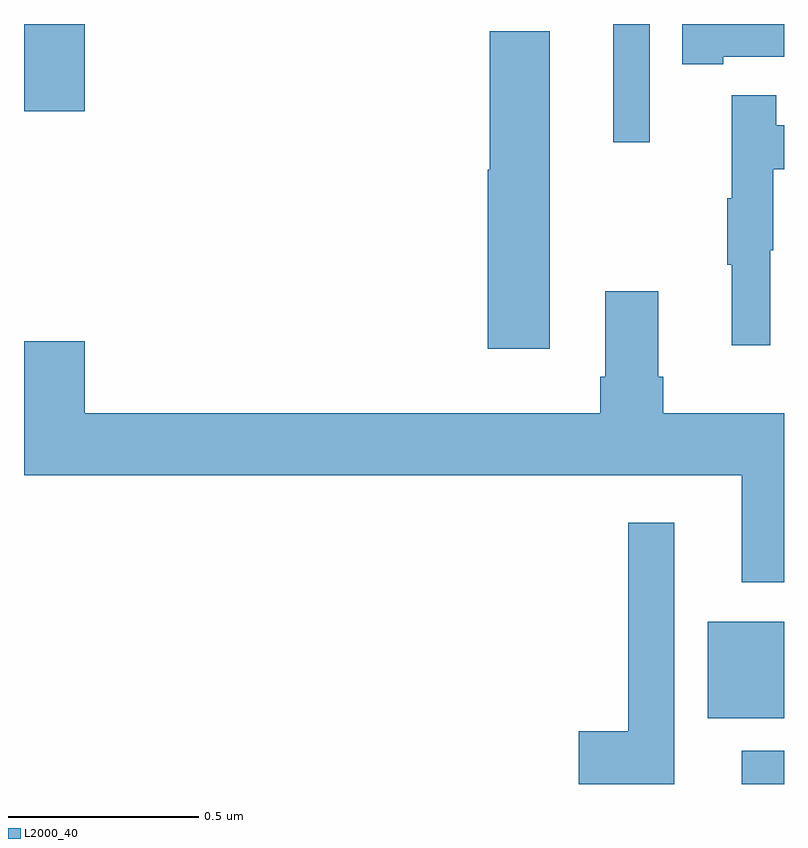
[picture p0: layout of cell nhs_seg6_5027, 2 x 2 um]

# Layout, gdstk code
import gdstk
lib = gdstk.Library(unit=1e-6, precision=1e-09)
def R(c, l, rs):  # rectangles x0, y0, x1, y1
    for r in rs: c.add(gdstk.rectangle(r[:2], r[2:], *l))
def P(c, l, *ps):  # polygons
    for p in ps: c.add(gdstk.Polygon(p, *l))
L2000_40 = (2000, 40)

nhs_seg6_5027 = lib.new_cell('nhs_seg6_5027')
R(nhs_seg6_5027, L2000_40, [(178.889,970.5,179,970.588), (178.799,970.673,179,970.927), (178.55,972.189,178.647,972.5), (177,972.27,177.16,972.5)])
P(nhs_seg6_5027, L2000_40, [(178.84,972.414),(179,972.414),(179,972.5),(178.732,972.5),(178.732,972.394),(178.84,972.394)],
  [(178.384,972.481),(178.226,972.481),(178.226,972.117),(178.22,972.117),(178.22,971.646),(178.384,971.646)],
  [(178.964,971.904),(178.972,971.904),(178.972,972.118),(179,972.118),(179,972.234),(178.979,972.234),(178.979,972.313),(178.862,972.313),(178.862,972.041),(178.851,972.041),(178.851,971.867),(178.862,971.867),(178.862,971.655),(178.964,971.655)],
  [(179,971.476),(178.682,971.476),(178.682,971.572),(178.669,971.572),(178.669,971.797),(178.529,971.797),(178.529,971.572),(178.517,971.572),(178.517,971.476),(177.16,971.476),(177.16,971.665),(177,971.665),(177,971.312),(178.889,971.312),(178.889,971.031),(179,971.031)],
  [(178.711,971.188),(178.59,971.188),(178.59,970.639),(178.46,970.639),(178.46,970.5),(178.711,970.5)])

lib.write_gds('nhs_seg6_5027.gds')
